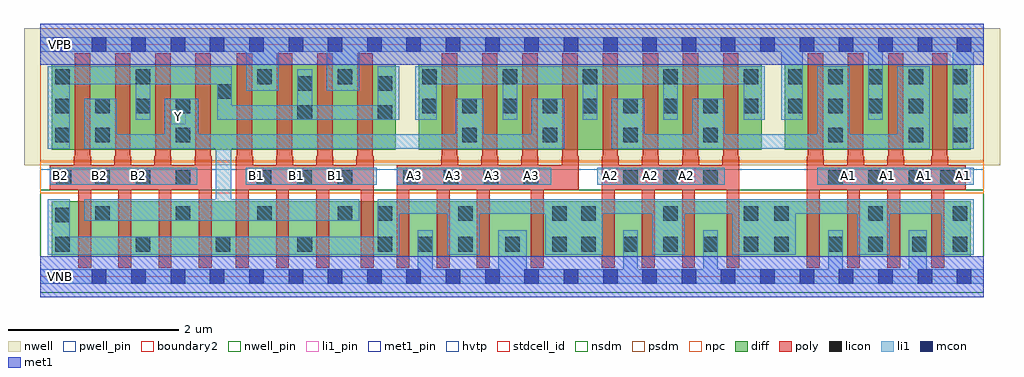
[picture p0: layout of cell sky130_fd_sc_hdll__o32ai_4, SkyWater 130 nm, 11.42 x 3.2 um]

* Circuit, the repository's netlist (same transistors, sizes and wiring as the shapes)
* Copyright 2020 The SkyWater PDK Authors
*
* Licensed under the Apache License, Version 2.0 (the "License");
* you may not use this file except in compliance with the License.
* You may obtain a copy of the License at
*
*     https://www.apache.org/licenses/LICENSE-2.0
*
* Unless required by applicable law or agreed to in writing, software
* distributed under the License is distributed on an "AS IS" BASIS,
* WITHOUT WARRANTIES OR CONDITIONS OF ANY KIND, either express or implied.
* See the License for the specific language governing permissions and
* limitations under the License.
*
* SPDX-License-Identifier: Apache-2.0

.SUBCKT sky130_fd_sc_hdll__o32ai_4 A1 A2 A3 B1 B2 VGND VNB VPB VPWR Y
*.PININFO A1:I A2:I A3:I B1:I B2:I VGND:I VNB:I VPB:I VPWR:I Y:O
MMPA0 VPWR A1 sndA1 VPB sky130_fd_pr__pfet_01v8_hvt m=4 w=1.0U l=0.18U mult=1 sa=0.265
+ sb=0.265 sd=0.28 area=0.063 perim=1.14
MMPA1 sndA1 A2 sndA2 VPB sky130_fd_pr__pfet_01v8_hvt m=4 w=1.0U l=0.18U mult=1
+ sa=0.265 sb=0.265 sd=0.28 area=0.063 perim=1.14
MMPA2 sndA2 A3 Y VPB sky130_fd_pr__pfet_01v8_hvt m=4 w=1.0U l=0.18U mult=1 sa=0.265
+ sb=0.265 sd=0.28 area=0.063 perim=1.14
MMPB0 VPWR B1 sndB1 VPB sky130_fd_pr__pfet_01v8_hvt m=4 w=1.0U l=0.18U mult=1 sa=0.265
+ sb=0.265 sd=0.28 area=0.063 perim=1.14
MMPB1 sndB1 B2 Y VPB sky130_fd_pr__pfet_01v8_hvt m=4 w=1.0U l=0.18U mult=1 sa=0.265
+ sb=0.265 sd=0.28 area=0.063 perim=1.14
MMNA0 pndA A1 VGND VNB sky130_fd_pr__nfet_01v8 m=4 w=0.65U l=0.15U mult=1 sa=0.265
+ sb=0.265 sd=0.28 area=0.063 perim=1.14
MMNA1 pndA A2 VGND VNB sky130_fd_pr__nfet_01v8 m=4 w=0.65U l=0.15U mult=1 sa=0.265
+ sb=0.265 sd=0.28 area=0.063 perim=1.14
MMNA2 pndA A3 VGND VNB sky130_fd_pr__nfet_01v8 m=4 w=0.65U l=0.15U mult=1 sa=0.265
+ sb=0.265 sd=0.28 area=0.063 perim=1.14
MMNB0 Y B1 pndA VNB sky130_fd_pr__nfet_01v8 m=4 w=0.65U l=0.15U mult=1 sa=0.265
+ sb=0.265 sd=0.28 area=0.063 perim=1.14
MMNB1 Y B2 pndA VNB sky130_fd_pr__nfet_01v8 m=4 w=0.65U l=0.15U mult=1 sa=0.265
+ sb=0.265 sd=0.28 area=0.063 perim=1.14
.ENDS sky130_fd_sc_hdll__o32ai_4

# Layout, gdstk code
import gdstk
lib = gdstk.Library(unit=1e-6, precision=1e-09)
def R(c, l, rs):  # rectangles x0, y0, x1, y1
    for r in rs: c.add(gdstk.rectangle(r[:2], r[2:], *l))
def A(c, l, x, y, w, h, nx, ny, dx, dy):  # array of equal rectangles
    R(c, l, [(x+i*dx, y+j*dy, x+i*dx+w, y+j*dy+h) for i in range(nx) for j in range(ny)])
def P(c, l, *ps):  # polygons
    for p in ps: c.add(gdstk.Polygon(p, *l))
nwell_pin = (64, 16)
nwell = (64, 20)
diff = (65, 20)
poly = (66, 20)
licon = (66, 44)
li1_pin = (67, 16)
li1 = (67, 20)
mcon = (67, 44)
met1_pin = (68, 16)
met1 = (68, 20)
hvtp = (78, 44)
stdcell_id = (81, 4)
nsdm = (93, 44)
psdm = (94, 20)
npc = (95, 20)
pwell_pin = (122, 16)
boundary2 = (236, 0)

sky130_fd_sc_hdll__o32ai = lib.new_cell('sky130_fd_sc_hdll__o32ai_4')
R(sky130_fd_sc_hdll__o32ai, nwell_pin, [(0.15,2.635,0.32,2.805)])
R(sky130_fd_sc_hdll__o32ai, nwell, [(-0.19,1.305,11.23,2.91)])
R(sky130_fd_sc_hdll__o32ai, diff, [(0.135,0.235,10.885,0.885), (0.135,1.485,4.16,2.485), (4.43,1.485,8.44,2.485), (8.71,1.485,10.885,2.485)])
P(sky130_fd_sc_hdll__o32ai, poly, [(2.005,1.41),(1.995,1.41),(1.995,2.615),(1.815,2.615),(1.815,1.41),(1.805,1.41),(1.805,1.305),(1.535,1.305),(1.535,1.41),(1.525,1.41),(1.525,2.615),(1.345,2.615),(1.345,1.41),(1.335,1.41),(1.335,1.305),(1.065,1.305),(1.065,1.41),(1.055,1.41),(1.055,2.615),(0.875,2.615),(0.875,1.41),(0.865,1.41),(0.865,1.305),(0.595,1.305),(0.595,1.41),(0.585,1.41),(0.585,2.615),(0.405,2.615),(0.405,1.41),(0.395,1.41),(0.395,1.305),(0.11,1.305),(0.11,1.015),(0.445,1.015),(0.445,0.105),(0.595,0.105),(0.595,1.015),(0.915,1.015),(0.915,0.105),(1.065,0.105),(1.065,1.015),(1.385,1.015),(1.385,0.105),(1.535,0.105),(1.535,1.015),(1.855,1.015),(1.855,0.105),(2.005,0.105)],
  [(3.9,1.41),(3.89,1.41),(3.89,2.615),(3.71,2.615),(3.71,1.41),(3.7,1.41),(3.7,1.305),(3.43,1.305),(3.43,1.41),(3.42,1.41),(3.42,2.615),(3.24,2.615),(3.24,1.41),(3.23,1.41),(3.23,1.305),(2.96,1.305),(2.96,1.41),(2.95,1.41),(2.95,2.615),(2.77,2.615),(2.77,1.41),(2.76,1.41),(2.76,1.305),(2.49,1.305),(2.49,1.41),(2.48,1.41),(2.48,2.615),(2.3,2.615),(2.3,1.41),(2.29,1.41),(2.29,0.105),(2.44,0.105),(2.44,1.015),(2.76,1.015),(2.76,0.105),(2.91,0.105),(2.91,1.015),(3.23,1.015),(3.23,0.105),(3.38,0.105),(3.38,1.015),(3.75,1.015),(3.75,0.105),(3.9,0.105)],
  [(6.3,1.41),(6.29,1.41),(6.29,2.615),(6.11,2.615),(6.11,1.41),(6.1,1.41),(6.1,1.305),(5.83,1.305),(5.83,1.41),(5.82,1.41),(5.82,2.615),(5.64,2.615),(5.64,1.41),(5.63,1.41),(5.63,1.305),(5.36,1.305),(5.36,1.41),(5.35,1.41),(5.35,2.615),(5.17,2.615),(5.17,1.41),(5.16,1.41),(5.16,1.305),(4.89,1.305),(4.89,1.41),(4.88,1.41),(4.88,2.615),(4.7,2.615),(4.7,1.41),(4.69,1.41),(4.69,1.305),(4.17,1.305),(4.17,0.105),(4.32,0.105),(4.32,1.015),(4.64,1.015),(4.64,0.105),(4.79,0.105),(4.79,1.015),(5.11,1.015),(5.11,0.105),(5.26,0.105),(5.26,1.015),(5.74,1.015),(5.74,0.105),(5.89,0.105),(5.89,1.015),(6.3,1.015)],
  [(8.18,1.41),(8.17,1.41),(8.17,2.615),(7.99,2.615),(7.99,1.41),(7.98,1.41),(7.98,1.305),(7.71,1.305),(7.71,1.41),(7.7,1.41),(7.7,2.615),(7.52,2.615),(7.52,1.41),(7.51,1.41),(7.51,1.305),(7.24,1.305),(7.24,1.41),(7.23,1.41),(7.23,2.615),(7.05,2.615),(7.05,1.41),(7.04,1.41),(7.04,1.305),(6.77,1.305),(6.77,1.41),(6.76,1.41),(6.76,2.615),(6.58,2.615),(6.58,1.41),(6.57,1.41),(6.57,0.105),(6.72,0.105),(6.72,1.015),(7.04,1.015),(7.04,0.105),(7.19,0.105),(7.19,1.015),(7.51,1.015),(7.51,0.105),(7.66,0.105),(7.66,1.015),(8.03,1.015),(8.03,0.105),(8.18,0.105)],
  [(10.83,1.305),(10.625,1.305),(10.625,1.41),(10.615,1.41),(10.615,2.615),(10.435,2.615),(10.435,1.41),(10.425,1.41),(10.425,1.305),(10.11,1.305),(10.11,1.41),(10.1,1.41),(10.1,2.615),(9.92,2.615),(9.92,1.41),(9.91,1.41),(9.91,1.305),(9.64,1.305),(9.64,1.41),(9.63,1.41),(9.63,2.615),(9.45,2.615),(9.45,1.41),(9.44,1.41),(9.44,1.305),(9.17,1.305),(9.17,1.41),(9.16,1.41),(9.16,2.615),(8.98,2.615),(8.98,1.41),(8.97,1.41),(8.97,0.105),(9.12,0.105),(9.12,1.015),(9.44,1.015),(9.44,0.105),(9.59,0.105),(9.59,1.015),(9.91,1.015),(9.91,0.105),(10.06,0.105),(10.06,1.015),(10.425,1.015),(10.425,0.105),(10.575,0.105),(10.575,1.015),(10.83,1.015)])
A(sky130_fd_sc_hdll__o32ai, licon, 0.175, 0.295, 0.17, 0.17, 3, 1, 0.94, 0)
A(sky130_fd_sc_hdll__o32ai, licon, 3.95, 0.295, 0.17, 0.17, 3, 1, 0.47, 0)
A(sky130_fd_sc_hdll__o32ai, licon, 6.82, 0.295, 0.17, 0.17, 4, 1, 0.47, 0)
A(sky130_fd_sc_hdll__o32ai, licon, 0.645, 1.075, 0.17, 0.17, 3, 1, 0.47, 0)
A(sky130_fd_sc_hdll__o32ai, licon, 4.25, 1.075, 0.17, 0.17, 4, 1, 0.47, 0)
A(sky130_fd_sc_hdll__o32ai, licon, 6.82, 1.075, 0.17, 0.17, 3, 1, 0.47, 0)
A(sky130_fd_sc_hdll__o32ai, licon, 9.22, 1.075, 0.17, 0.17, 3, 1, 0.47, 0)
A(sky130_fd_sc_hdll__o32ai, licon, 4.94, 1.575, 0.17, 0.17, 4, 1, 0.94, 0)
A(sky130_fd_sc_hdll__o32ai, licon, 10.675, 1.575, 0.17, 0.17, 1, 3, 0, 0.34)
A(sky130_fd_sc_hdll__o32ai, licon, 0.175, 1.915, 0.17, 0.17, 4, 1, 0.47, 0)
A(sky130_fd_sc_hdll__o32ai, licon, 4.47, 1.915, 0.17, 0.17, 9, 1, 0.47, 0)
A(sky130_fd_sc_hdll__o32ai, licon, 8.75, 1.915, 0.17, 0.17, 4, 2, 0.47, 0.34)
A(sky130_fd_sc_hdll__o32ai, licon, 4.47, 2.255, 0.17, 0.17, 5, 1, 0.94, 0)
R(sky130_fd_sc_hdll__o32ai, licon, [(3.01,0.295,3.18,0.465), (5.44,0.295,5.61,0.465), (5.99,0.295,6.16,0.465), (6.33,0.295,6.5,0.465), (8.59,0.295,8.76,0.465), (9.22,0.295,9.39,0.465), (9.69,0.295,9.86,0.465), (10.205,0.295,10.375,0.465), (10.675,0.295,10.845,0.465), (0.175,0.635,0.345,0.805), (0.645,0.655,0.815,0.825), (1.585,0.655,1.755,0.825), (2.54,0.655,2.71,0.825), (3.48,0.655,3.65,0.825), (3.95,0.655,4.12,0.825), (4.89,0.655,5.06,0.825), (5.99,0.655,6.16,0.825), (6.33,0.655,6.5,0.825), (7.29,0.655,7.46,0.825), (8.23,0.655,8.4,0.825), (8.59,0.655,8.76,0.825), (9.69,0.655,9.86,0.825), (10.675,0.655,10.845,0.825), (0.19,1.075,0.36,1.245), (2.535,1.075,2.705,1.245), (3.005,1.075,3.175,1.245), (3.48,1.075,3.65,1.245), (10.53,1.075,10.7,1.245), (0.175,1.575,0.345,1.745), (0.645,1.575,0.815,1.745), (1.585,1.575,1.755,1.745), (9.22,1.575,9.39,1.745), (10.16,1.575,10.33,1.745), (3.01,1.835,3.18,2.005), (3.95,1.835,4.12,2.005), (2.07,2.085,2.24,2.255), (3.01,2.175,3.18,2.345), (3.95,2.175,4.12,2.345), (0.175,2.255,0.345,2.425), (1.115,2.255,1.285,2.425), (2.54,2.255,2.71,2.425), (3.48,2.255,3.65,2.425)])
R(sky130_fd_sc_hdll__o32ai, li1_pin, [(0.15,1.105,0.32,1.275), (0.61,1.105,0.78,1.275), (1.08,1.105,1.25,1.275), (2.445,1.105,2.615,1.275), (2.905,1.105,3.075,1.275), (2.905,1.105,3.075,1.275), (3.365,1.105,3.535,1.275), (4.285,1.105,4.455,1.275), (4.74,1.105,4.91,1.275), (5.185,1.105,5.355,1.275), (5.675,1.105,5.845,1.275), (6.58,1.105,6.75,1.275), (7.04,1.105,7.21,1.275), (7.495,1.105,7.665,1.275), (9.345,1.105,9.515,1.275), (9.81,1.105,9.98,1.275), (10.26,1.105,10.43,1.275), (10.72,1.105,10.89,1.275), (1.535,1.785,1.705,1.955)])
R(sky130_fd_sc_hdll__o32ai, li1, [(0.11,1.075,1.835,1.275), (2.405,1.075,3.94,1.275), (4.17,1.075,5.98,1.275), (6.52,1.075,8.01,1.275), (9.09,1.075,10.925,1.275)])
P(sky130_fd_sc_hdll__o32ai, li1, [(11.04,0.085),(10.375,0.085),(10.375,0.545),(10.16,0.545),(10.16,0.085),(9.39,0.085),(9.39,0.545),(9.22,0.545),(9.22,0.085),(7.93,0.085),(7.93,0.545),(7.76,0.545),(7.76,0.085),(6.99,0.085),(6.99,0.545),(6.82,0.545),(6.82,0.085),(5.69,0.085),(5.69,0.545),(5.36,0.545),(5.36,0.085),(4.59,0.085),(4.59,0.545),(4.42,0.545),(4.42,0.085),(0,0.085),(0,-0.085),(11.04,-0.085)],
  [(11.04,2.805),(0,2.805),(0,2.635),(2.41,2.635),(2.41,2.175),(2.79,2.175),(2.79,2.635),(3.35,2.635),(3.35,2.175),(3.73,2.175),(3.73,2.635),(8.67,2.635),(8.67,1.835),(8.92,1.835),(8.92,2.635),(9.69,2.635),(9.69,1.835),(9.86,1.835),(9.86,2.635),(10.675,2.635),(10.675,1.495),(10.925,1.495),(10.925,2.635),(11.04,2.635)],
  [(8.48,2.465),(4.39,2.465),(4.39,1.835),(4.64,1.835),(4.64,2.255),(5.41,2.255),(5.41,1.835),(5.58,1.835),(5.58,2.255),(6.35,2.255),(6.35,1.835),(6.52,1.835),(6.52,2.255),(7.29,2.255),(7.29,1.835),(7.46,1.835),(7.46,2.255),(8.23,2.255),(8.23,1.835),(8.48,1.835)],
  [(4.2,2.465),(3.95,2.465),(3.95,2.005),(3.18,2.005),(3.18,2.425),(3.01,2.425),(3.01,2.005),(2.24,2.005),(2.24,2.465),(0.09,2.465),(0.09,1.495),(0.345,1.495),(0.345,2.255),(1.115,2.255),(1.115,1.835),(1.285,1.835),(1.285,2.255),(2.07,2.255),(2.07,1.835),(4.2,1.835)],
  [(6.13,2.085),(5.75,2.085),(5.75,1.665),(5.19,1.665),(5.19,2.085),(4.86,2.085),(4.86,1.665),(1.85,1.665),(1.85,2.085),(1.455,2.085),(1.455,1.665),(0.895,1.665),(0.895,2.085),(0.515,2.085),(0.515,1.495),(2.055,1.495),(2.055,0.905),(0.515,0.905),(0.515,0.655),(3.73,0.655),(3.73,0.905),(2.235,0.905),(2.235,1.495),(6.13,1.495)],
  [(10.41,2.465),(10.03,2.465),(10.03,1.665),(9.47,1.665),(9.47,2.465),(9.09,2.465),(9.09,1.665),(8.01,1.665),(8.01,2.085),(7.63,2.085),(7.63,1.665),(7.07,1.665),(7.07,2.085),(6.69,2.085),(6.69,1.495),(10.41,1.495)],
  [(10.925,0.905),(3.95,0.905),(3.95,0.465),(0.345,0.465),(0.345,0.905),(0.09,0.905),(0.09,0.255),(4.2,0.255),(4.2,0.735),(4.76,0.735),(4.76,0.255),(5.14,0.255),(5.14,0.735),(5.91,0.735),(5.91,0.255),(6.58,0.255),(6.58,0.735),(7.16,0.735),(7.16,0.255),(7.54,0.255),(7.54,0.735),(8.1,0.735),(8.1,0.255),(8.84,0.255),(8.84,0.735),(9.56,0.735),(9.56,0.255),(9.94,0.255),(9.94,0.735),(10.545,0.735),(10.545,0.255),(10.925,0.255)])
A(sky130_fd_sc_hdll__o32ai, mcon, 0.145, -0.085, 0.17, 0.17, 24, 2, 0.46, 2.72)
R(sky130_fd_sc_hdll__o32ai, met1_pin, [(0.15,-0.085,0.32,0.085), (0.15,2.635,0.32,2.805)])
R(sky130_fd_sc_hdll__o32ai, met1, [(0,-0.24,11.04,0.24), (0,2.48,11.04,2.96)])
R(sky130_fd_sc_hdll__o32ai, hvtp, [(0,1.25,11.04,2.72)])
R(sky130_fd_sc_hdll__o32ai, stdcell_id, [(0,0,11.04,2.72)])
R(sky130_fd_sc_hdll__o32ai, nsdm, [(0,-0.19,11.04,1.015)])
R(sky130_fd_sc_hdll__o32ai, psdm, [(0,1.355,11.04,2.91)])
R(sky130_fd_sc_hdll__o32ai, npc, [(0,0.975,11.04,1.345)])
R(sky130_fd_sc_hdll__o32ai, pwell_pin, [(0.15,-0.085,0.32,0.085)])
R(sky130_fd_sc_hdll__o32ai, boundary2, [(0,0,11.04,2.72)])
sky130_fd_sc_hdll__o32ai.add(gdstk.Label('A1', (10.35,1.19), layer=67, texttype=5))
sky130_fd_sc_hdll__o32ai.add(gdstk.Label('A1', (10.805,1.19), layer=67, texttype=5))
sky130_fd_sc_hdll__o32ai.add(gdstk.Label('A1', (9.455,1.19), layer=67, texttype=5))
sky130_fd_sc_hdll__o32ai.add(gdstk.Label('A1', (9.91,1.19), layer=67, texttype=5))
sky130_fd_sc_hdll__o32ai.add(gdstk.Label('A2', (7.135,1.19), layer=67, texttype=5))
sky130_fd_sc_hdll__o32ai.add(gdstk.Label('A2', (6.675,1.19), layer=67, texttype=5))
sky130_fd_sc_hdll__o32ai.add(gdstk.Label('A2', (7.565,1.19), layer=67, texttype=5))
sky130_fd_sc_hdll__o32ai.add(gdstk.Label('A3', (5.295,1.19), layer=67, texttype=5))
sky130_fd_sc_hdll__o32ai.add(gdstk.Label('A3', (4.835,1.19), layer=67, texttype=5))
sky130_fd_sc_hdll__o32ai.add(gdstk.Label('A3', (4.375,1.19), layer=67, texttype=5))
sky130_fd_sc_hdll__o32ai.add(gdstk.Label('A3', (5.745,1.19), layer=67, texttype=5))
sky130_fd_sc_hdll__o32ai.add(gdstk.Label('B1', (2.535,1.19), layer=67, texttype=5))
sky130_fd_sc_hdll__o32ai.add(gdstk.Label('B1', (2.995,1.19), layer=67, texttype=5))
sky130_fd_sc_hdll__o32ai.add(gdstk.Label('B1', (3.455,1.19), layer=67, texttype=5))
sky130_fd_sc_hdll__o32ai.add(gdstk.Label('Y', (1.615,1.87), layer=67, texttype=5))
sky130_fd_sc_hdll__o32ai.add(gdstk.Label('B2', (1.155,1.19), layer=67, texttype=5))
sky130_fd_sc_hdll__o32ai.add(gdstk.Label('B2', (0.695,1.19), layer=67, texttype=5))
sky130_fd_sc_hdll__o32ai.add(gdstk.Label('B2', (0.235,1.19), layer=67, texttype=5))
sky130_fd_sc_hdll__o32ai.add(gdstk.Label('VNB', (0.235,0), layer=64, texttype=59))
sky130_fd_sc_hdll__o32ai.add(gdstk.Label('VPB', (0.235,2.72), layer=64, texttype=5))
sky130_fd_sc_hdll__o32ai.add(gdstk.Label('VGND', (0.23,0), layer=68, texttype=5))
sky130_fd_sc_hdll__o32ai.add(gdstk.Label('VPWR', (0.235,2.72), layer=68, texttype=5))
sky130_fd_sc_hdll__o32ai.add(gdstk.Label('o32ai_4', (0,0), layer=83, texttype=44))

lib.write_gds('sky130_fd_sc_hdll__o32ai_4.gds')
